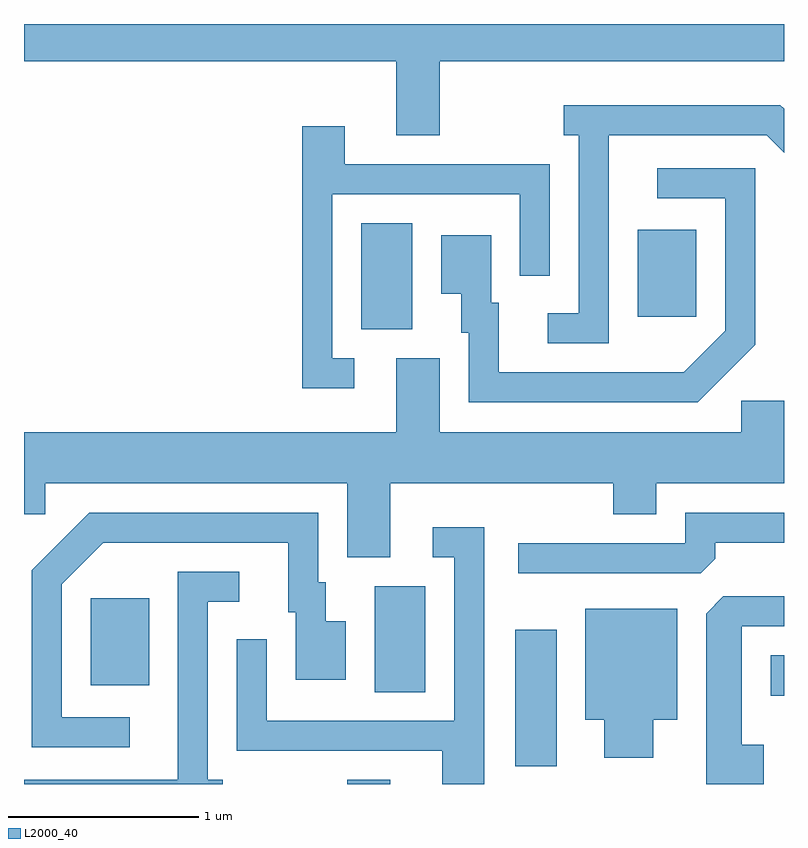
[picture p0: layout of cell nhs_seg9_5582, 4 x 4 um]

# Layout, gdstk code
import gdstk
lib = gdstk.Library(unit=1e-6, precision=1e-09)
def R(c, l, rs):  # rectangles x0, y0, x1, y1
    for r in rs: c.add(gdstk.rectangle(r[:2], r[2:], *l))
def P(c, l, *ps):  # polygons
    for p in ps: c.add(gdstk.Polygon(p, *l))
L2000_40 = (2000, 40)

nhs_seg9_5582 = lib.new_cell('nhs_seg9_5582')
R(nhs_seg9_5582, L2000_40, [(351.311,2012.432,351.539,2012.454), (352.196,2012.526,352.414,2013.244), (353.541,2012.896,353.611,2013.109), (351.456,2012.916,351.724,2013.474), (349.961,2012.951,350.269,2013.409), (351.386,2014.826,351.654,2015.384), (352.841,2014.891,353.149,2015.349)])
P(nhs_seg9_5582, L2000_40, [(351.799,2016.236),(353.611,2016.236),(353.611,2016.432),(349.611,2016.432),(349.611,2016.236),(351.571,2016.236),(351.571,2015.846),(351.799,2015.846)],
  [(352.689,2015.846),(353.519,2015.846),(353.611,2015.754),(353.611,2015.985),(353.592,2016.004),(352.453,2016.004),(352.453,2015.846),(352.531,2015.846),(352.531,2014.909),(352.368,2014.909),(352.368,2014.751),(352.689,2014.751)],
  [(351.348,2014.674),(351.234,2014.674),(351.234,2015.536),(352.221,2015.536),(352.221,2015.108),(352.379,2015.108),(352.379,2015.694),(351.299,2015.694),(351.299,2015.894),(351.076,2015.894),(351.076,2014.516),(351.348,2014.516)],
  [(353.459,2014.744),(353.459,2015.674),(352.943,2015.674),(352.943,2015.516),(353.301,2015.516),(353.301,2014.817),(353.084,2014.599),(352.109,2014.599),(352.109,2014.964),(352.069,2014.964),(352.069,2015.319),(351.806,2015.319),(351.806,2015.011),(351.911,2015.011),(351.911,2014.806),(351.951,2014.806),(351.951,2014.441),(353.157,2014.441)],
  [(351.539,2014.016),(352.711,2014.016),(352.711,2013.851),(352.939,2013.851),(352.939,2014.016),(353.611,2014.016),(353.611,2014.449),(353.386,2014.449),(353.386,2014.284),(351.799,2014.284),(351.799,2014.674),(351.571,2014.674),(351.571,2014.284),(349.611,2014.284),(349.611,2013.851),(349.724,2013.851),(349.724,2014.016),(351.311,2014.016),(351.311,2013.626),(351.539,2013.626)],
  [(353.249,2013.617),(353.249,2013.701),(353.611,2013.701),(353.611,2013.859),(353.091,2013.859),(353.091,2013.699),(352.213,2013.699),(352.213,2013.541),(353.174,2013.541)],
  [(350.168,2012.784),(349.809,2012.784),(349.809,2013.484),(350.027,2013.701),(351.001,2013.701),(351.001,2013.336),(351.041,2013.336),(351.041,2012.981),(351.304,2012.981),(351.304,2013.289),(351.199,2013.289),(351.199,2013.494),(351.159,2013.494),(351.159,2013.859),(349.954,2013.859),(349.651,2013.557),(349.651,2012.626),(350.168,2012.626)],
  [(352.034,2013.784),(351.763,2013.784),(351.763,2013.626),(351.876,2013.626),(351.876,2012.764),(350.889,2012.764),(350.889,2013.193),(350.731,2013.193),(350.731,2012.606),(351.811,2012.606),(351.811,2012.432),(352.034,2012.432)],
  [(350.658,2012.454),(350.579,2012.454),(350.579,2013.391),(350.743,2013.391),(350.743,2013.549),(350.421,2013.549),(350.421,2012.454),(349.611,2012.454),(349.611,2012.432),(350.658,2012.432)],
  [(353.504,2012.639),(353.389,2012.639),(353.389,2013.261),(353.611,2013.261),(353.611,2013.419),(353.292,2013.419),(353.201,2013.329),(353.201,2012.432),(353.504,2012.432)],
  [(352.924,2012.771),(353.049,2012.771),(353.049,2013.354),(352.566,2013.354),(352.566,2012.771),(352.666,2012.771),(352.666,2012.571),(352.924,2012.571)])

lib.write_gds('nhs_seg9_5582.gds')
